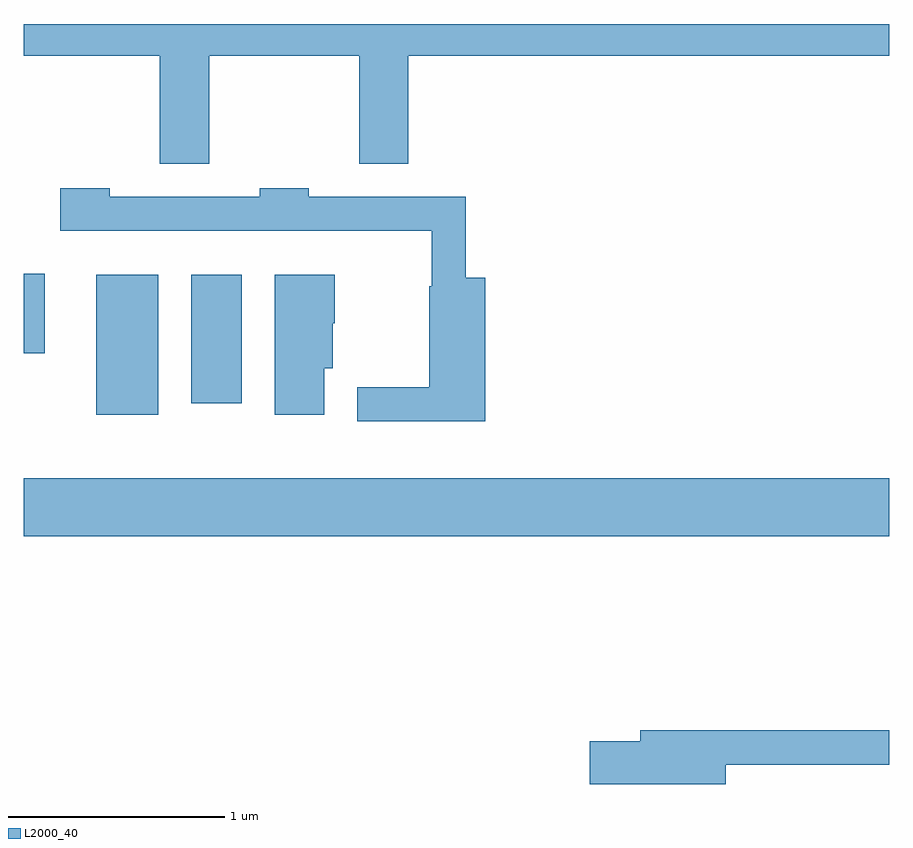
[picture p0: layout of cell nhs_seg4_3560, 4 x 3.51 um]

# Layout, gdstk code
import gdstk
lib = gdstk.Library(unit=1e-6, precision=1e-09)
def R(c, l, rs):  # rectangles x0, y0, x1, y1
    for r in rs: c.add(gdstk.rectangle(r[:2], r[2:], *l))
def P(c, l, *ps):  # polygons
    for p in ps: c.add(gdstk.Polygon(p, *l))
L2000_40 = (2000, 40)

nhs_seg4_3560 = lib.new_cell('nhs_seg4_3560')
R(nhs_seg4_3560, L2000_40, [(289.611,1303.616,293.611,1303.884), (289.946,1304.176,290.234,1304.824), (290.386,1304.231,290.619,1304.824), (289.611,1304.461,289.709,1304.829)])
P(nhs_seg4_3560, L2000_40, [(290.469,1305.836),(291.161,1305.836),(291.161,1305.336),(291.389,1305.336),(291.389,1305.836),(293.611,1305.836),(293.611,1305.982),(289.611,1305.982),(289.611,1305.836),(290.241,1305.836),(290.241,1305.336),(290.469,1305.336)],
  [(291.744,1304.809),(291.654,1304.809),(291.654,1305.184),(290.929,1305.184),(290.929,1305.224),(290.701,1305.224),(290.701,1305.184),(290.009,1305.184),(290.009,1305.224),(289.781,1305.224),(289.781,1305.026),(291.496,1305.026),(291.496,1304.77),(291.486,1304.77),(291.486,1304.304),(291.153,1304.304),(291.153,1304.146),(291.744,1304.146)],
  [(290.999,1304.391),(291.039,1304.391),(291.039,1304.6),(291.049,1304.6),(291.049,1304.824),(290.771,1304.824),(290.771,1304.176),(290.999,1304.176)],
  [(292.854,1302.561),(293.611,1302.561),(293.611,1302.719),(292.461,1302.719),(292.461,1302.669),(292.226,1302.669),(292.226,1302.471),(292.854,1302.471)])

lib.write_gds('nhs_seg4_3560.gds')
